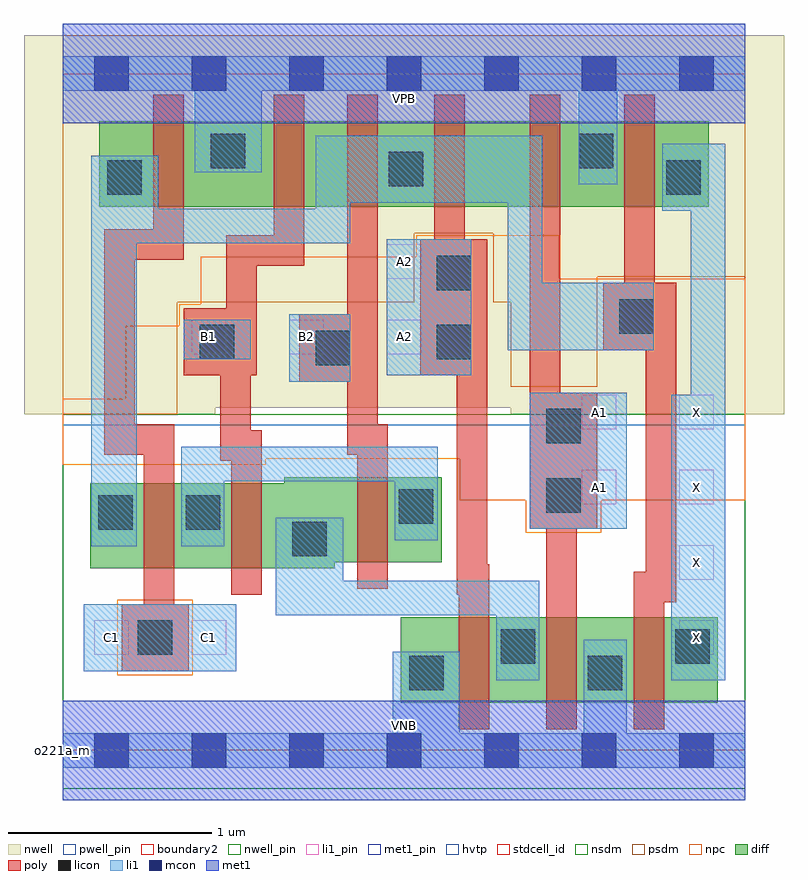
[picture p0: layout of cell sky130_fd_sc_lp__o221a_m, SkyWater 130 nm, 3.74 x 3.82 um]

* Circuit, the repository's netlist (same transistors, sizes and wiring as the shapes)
* Copyright 2020 The SkyWater PDK Authors
*
* Licensed under the Apache License, Version 2.0 (the "License");
* you may not use this file except in compliance with the License.
* You may obtain a copy of the License at
*
*     https://www.apache.org/licenses/LICENSE-2.0
*
* Unless required by applicable law or agreed to in writing, software
* distributed under the License is distributed on an "AS IS" BASIS,
* WITHOUT WARRANTIES OR CONDITIONS OF ANY KIND, either express or implied.
* See the License for the specific language governing permissions and
* limitations under the License.
*
* SPDX-License-Identifier: Apache-2.0

.SUBCKT sky130_fd_sc_lp__o221a_m A1 A2 B1 B2 C1 VGND VNB VPB VPWR X
*.PININFO A1:I A2:I B1:I B2:I C1:I VGND:I VNB:I VPB:I VPWR:I X:O
MMPA0 VPWR A1 sndA1 VPB sky130_fd_pr__pfet_01v8_hvt m=1 w=0.42U l=0.15U mult=1
+ sa=0.265 sb=0.265 sd=0.28 area=0.063 perim=1.14
MMPA1 sndA1 A2 y VPB sky130_fd_pr__pfet_01v8_hvt m=1 w=0.42U l=0.15U mult=1 sa=0.265
+ sb=0.265 sd=0.28 area=0.063 perim=1.14
MMPB0 VPWR B1 sndB1 VPB sky130_fd_pr__pfet_01v8_hvt m=1 w=0.42U l=0.15U mult=1
+ sa=0.265 sb=0.265 sd=0.28 area=0.063 perim=1.14
MMPB1 sndB1 B2 y VPB sky130_fd_pr__pfet_01v8_hvt m=1 w=0.42U l=0.15U mult=1 sa=0.265
+ sb=0.265 sd=0.28 area=0.063 perim=1.14
MMPC0 VPWR C1 y VPB sky130_fd_pr__pfet_01v8_hvt m=1 w=0.42U l=0.15U mult=1 sa=0.265
+ sb=0.265 sd=0.28 area=0.063 perim=1.14
MMIPX X y VPWR VPB sky130_fd_pr__pfet_01v8_hvt m=1 w=0.42U l=0.15U mult=1 sa=0.265
+ sb=0.265 sd=0.28 area=0.063 perim=1.14
MMNA0 pndA A1 VGND VNB sky130_fd_pr__nfet_01v8 m=1 w=0.42U l=0.15U mult=1 sa=0.265
+ sb=0.265 sd=0.28 area=0.063 perim=1.14
MMNA1 pndA A2 VGND VNB sky130_fd_pr__nfet_01v8 m=1 w=0.42U l=0.15U mult=1 sa=0.265
+ sb=0.265 sd=0.28 area=0.063 perim=1.14
MMNB0 pndB B1 pndA VNB sky130_fd_pr__nfet_01v8 m=1 w=0.42U l=0.15U mult=1 sa=0.265
+ sb=0.265 sd=0.28 area=0.063 perim=1.14
MMNB1 pndB B2 pndA VNB sky130_fd_pr__nfet_01v8 m=1 w=0.42U l=0.15U mult=1 sa=0.265
+ sb=0.265 sd=0.28 area=0.063 perim=1.14
MMNC0 y C1 pndB VNB sky130_fd_pr__nfet_01v8 m=1 w=0.42U l=0.15U mult=1 sa=0.265
+ sb=0.265 sd=0.28 area=0.063 perim=1.14
MMINX X y VGND VNB sky130_fd_pr__nfet_01v8 m=1 w=0.42U l=0.15U mult=1 sa=0.265
+ sb=0.265 sd=0.28 area=0.063 perim=1.14
.ENDS sky130_fd_sc_lp__o221a_m

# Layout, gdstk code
import gdstk
lib = gdstk.Library(unit=1e-6, precision=1e-09)
def R(c, l, rs):  # rectangles x0, y0, x1, y1
    for r in rs: c.add(gdstk.rectangle(r[:2], r[2:], *l))
def A(c, l, x, y, w, h, nx, ny, dx, dy):  # array of equal rectangles
    R(c, l, [(x+i*dx, y+j*dy, x+i*dx+w, y+j*dy+h) for i in range(nx) for j in range(ny)])
def P(c, l, *ps):  # polygons
    for p in ps: c.add(gdstk.Polygon(p, *l))
nwell_pin = (64, 16)
nwell = (64, 20)
diff = (65, 20)
poly = (66, 20)
licon = (66, 44)
li1_pin = (67, 16)
li1 = (67, 20)
mcon = (67, 44)
met1_pin = (68, 16)
met1 = (68, 20)
hvtp = (78, 44)
stdcell_id = (81, 4)
nsdm = (93, 44)
psdm = (94, 20)
npc = (95, 20)
pwell_pin = (122, 16)
boundary2 = (236, 0)

sky130_fd_sc_lp__o221a_m = lib.new_cell('sky130_fd_sc_lp__o221a_m')
R(sky130_fd_sc_lp__o221a_m, nwell_pin, [(0,3.085,3.36,3.33)])
P(sky130_fd_sc_lp__o221a_m, nwell, [(3.55,3.52),(-0.19,3.52),(-0.19,1.655),(0.75,1.655),(0.75,1.685),(2.205,1.685),(2.205,1.655),(3.55,1.655)])
R(sky130_fd_sc_lp__o221a_m, diff, [(1.665,0.235,3.225,0.655), (0.18,2.675,3.18,3.095)])
P(sky130_fd_sc_lp__o221a_m, diff, [(1.865,1.345),(1.09,1.345),(1.09,1.315),(0.135,1.315),(0.135,0.895),(1.34,0.895),(1.34,0.925),(1.865,0.925)])
R(sky130_fd_sc_lp__o221a_m, poly, [(0.29,0.39,0.62,0.72)])
P(sky130_fd_sc_lp__o221a_m, poly, [(1.19,3.225),(1.04,3.225),(1.04,2.535),(0.805,2.535),(0.805,2.175),(0.595,2.175),(0.595,1.845),(0.775,1.845),(0.775,1.425),(0.83,1.425),(0.83,0.765),(0.98,0.765),(0.98,1.575),(0.925,1.575),(0.925,1.845),(0.955,1.845),(0.955,2.385),(1.19,2.385)],
  [(1.6,1.605),(1.55,1.605),(1.55,3.225),(1.4,3.225),(1.4,2.145),(1.165,2.145),(1.165,1.815),(1.4,1.815),(1.4,1.455),(1.45,1.455),(1.45,0.795),(1.6,0.795)],
  [(2.1,0.915),(2.09,0.915),(2.09,2.515),(1.98,2.515),(1.98,3.225),(1.83,3.225),(1.83,2.515),(1.76,2.515),(1.76,1.845),(1.94,1.845),(1.94,0.765),(1.95,0.765),(1.95,0.105),(2.1,0.105)],
  [(2.63,1.76),(2.45,1.76),(2.45,3.225),(2.3,3.225),(2.3,1.09),(2.38,1.09),(2.38,0.105),(2.53,0.105),(2.53,1.09),(2.63,1.09)],
  [(3.02,2.3),(2.915,2.3),(2.915,3.225),(2.765,3.225),(2.765,2.3),(2.66,2.3),(2.66,1.97),(2.87,1.97),(2.87,0.88),(2.81,0.88),(2.81,0.105),(2.96,0.105),(2.96,0.73),(3.02,0.73)],
  [(0.595,3.225),(0.445,3.225),(0.445,2.565),(0.205,2.565),(0.205,1.455),(0.4,1.455),(0.4,0.72),(0.55,0.72),(0.55,1.605),(0.355,1.605),(0.355,2.415),(0.595,2.415)])
R(sky130_fd_sc_lp__o221a_m, licon, [(1.705,0.295,1.875,0.465), (2.585,0.295,2.755,0.465), (2.155,0.425,2.325,0.595), (3.015,0.425,3.185,0.595), (0.37,0.47,0.54,0.64), (1.13,0.955,1.3,1.125), (0.175,1.085,0.345,1.255), (0.605,1.085,0.775,1.255), (1.655,1.115,1.825,1.285), (2.38,1.17,2.55,1.34), (2.38,1.51,2.55,1.68), (1.245,1.895,1.415,2.065), (0.675,1.925,0.845,2.095), (1.84,1.925,2.01,2.095), (2.74,2.05,2.91,2.22), (1.84,2.265,2.01,2.435), (0.22,2.735,0.39,2.905), (2.97,2.735,3.14,2.905), (1.605,2.775,1.775,2.945), (0.73,2.865,0.9,3.035), (2.54,2.865,2.71,3.035)])
A(sky130_fd_sc_lp__o221a_m, li1_pin, 3.035, 0.47, 0.17, 0.17, 1, 4, 0, 0.37)
A(sky130_fd_sc_lp__o221a_m, li1_pin, 0.635, 1.95, 0.17, 0.17, 3, 1, 0.48, 0)
R(sky130_fd_sc_lp__o221a_m, li1_pin, [(0.155,0.47,0.325,0.64), (0.635,0.47,0.805,0.64), (2.555,1.21,2.725,1.38), (2.555,1.58,2.725,1.75), (1.595,2.32,1.765,2.49)])
R(sky130_fd_sc_lp__o221a_m, li1, [(0.105,0.39,0.855,0.72), (2.3,1.09,2.775,1.76), (1.115,1.815,1.415,2.145), (1.595,1.845,2.01,2.515), (0.595,1.925,0.925,2.12)])
P(sky130_fd_sc_lp__o221a_m, li1, [(2.54,2.785),(2.54,3.245),(0.98,3.245),(0.98,2.845),(0.65,2.845),(0.65,3.245),(0,3.245),(0,3.415),(3.36,3.415),(3.36,3.245),(2.73,3.245),(2.73,2.785)],
  [(1.625,0.085),(1.625,0.485),(1.955,0.485),(1.955,0.085),(2.565,0.085),(2.565,0.545),(2.775,0.545),(2.775,0.085),(3.36,0.085),(3.36,-0.085),(0,-0.085),(0,0.085)],
  [(2.36,3.025),(2.36,2.3),(2.91,2.3),(2.91,1.97),(2.19,1.97),(2.19,2.695),(1.415,2.695),(1.415,2.495),(0.365,2.495),(0.365,1.005),(0.14,1.005),(0.14,2.925),(0.47,2.925),(0.47,2.665),(1.245,2.665),(1.245,3.025)],
  [(3.09,1.75),(3.09,2.655),(2.95,2.655),(2.95,2.985),(3.26,2.985),(3.26,0.345),(2.995,0.345),(2.995,1.75)],
  [(1.38,0.835),(2.345,0.835),(2.345,0.345),(2.135,0.345),(2.135,0.665),(1.05,0.665),(1.05,1.145),(1.38,1.145)],
  [(1.635,1.035),(1.635,1.325),(0.795,1.325),(0.795,1.005),(0.585,1.005),(0.585,1.495),(1.845,1.495),(1.845,1.035)])
A(sky130_fd_sc_lp__o221a_m, mcon, 0.155, -0.085, 0.17, 0.17, 7, 2, 0.48, 3.33)
R(sky130_fd_sc_lp__o221a_m, met1_pin, [(0,0,3.36,0.245), (0,3.085,3.36,3.33)])
R(sky130_fd_sc_lp__o221a_m, met1, [(0,-0.245,3.36,0.245), (0,3.085,3.36,3.575)])
R(sky130_fd_sc_lp__o221a_m, hvtp, [(0,1.6,3.36,3.33)])
R(sky130_fd_sc_lp__o221a_m, stdcell_id, [(0,0,3.36,3.33)])
R(sky130_fd_sc_lp__o221a_m, nsdm, [(0,-0.19,3.36,1.655)])
P(sky130_fd_sc_lp__o221a_m, psdm, [(3.36,3.52),(0,3.52),(0,1.655),(0.565,1.655),(0.565,2.205),(1.73,2.205),(1.73,2.545),(2.12,2.545),(2.12,2.205),(2.205,2.205),(2.205,1.79),(2.63,1.79),(2.63,2.33),(3.36,2.33)])
R(sky130_fd_sc_lp__o221a_m, npc, [(0.27,0.37,0.64,0.74)])
P(sky130_fd_sc_lp__o221a_m, npc, [(3.36,2.32),(2.445,2.32),(2.445,2.535),(1.74,2.535),(1.74,2.43),(0.68,2.43),(0.68,2.195),(0.575,2.195),(0.575,2.09),(0.31,2.09),(0.31,1.73),(0,1.73),(0,1.405),(1,1.405),(1,1.435),(1.955,1.435),(1.955,1.23),(2.28,1.23),(2.28,1.07),(2.65,1.07),(2.65,1.23),(3.36,1.23)])
R(sky130_fd_sc_lp__o221a_m, pwell_pin, [(0,0,3.36,0.245)])
R(sky130_fd_sc_lp__o221a_m, boundary2, [(0,0,3.36,3.33)])
sky130_fd_sc_lp__o221a_m.add(gdstk.Label('VNB', (1.68,0.123), layer=64, texttype=59))
sky130_fd_sc_lp__o221a_m.add(gdstk.Label('VPB', (1.68,3.208), layer=64, texttype=5))
sky130_fd_sc_lp__o221a_m.add(gdstk.Label('o221a_m', (0,0), layer=83, texttype=44))
sky130_fd_sc_lp__o221a_m.add(gdstk.Label('VPWR', (1.68,3.208), layer=68, texttype=5))
sky130_fd_sc_lp__o221a_m.add(gdstk.Label('VGND', (1.68,0.123), layer=68, texttype=5))
sky130_fd_sc_lp__o221a_m.add(gdstk.Label('A1', (2.64,1.295), layer=67, texttype=5))
sky130_fd_sc_lp__o221a_m.add(gdstk.Label('A1', (2.64,1.665), layer=67, texttype=5))
sky130_fd_sc_lp__o221a_m.add(gdstk.Label('A2', (1.68,2.035), layer=67, texttype=5))
sky130_fd_sc_lp__o221a_m.add(gdstk.Label('A2', (1.68,2.405), layer=67, texttype=5))
sky130_fd_sc_lp__o221a_m.add(gdstk.Label('B1', (0.72,2.035), layer=67, texttype=5))
sky130_fd_sc_lp__o221a_m.add(gdstk.Label('B2', (1.2,2.035), layer=67, texttype=5))
sky130_fd_sc_lp__o221a_m.add(gdstk.Label('C1', (0.24,0.555), layer=67, texttype=5))
sky130_fd_sc_lp__o221a_m.add(gdstk.Label('C1', (0.72,0.555), layer=67, texttype=5))
sky130_fd_sc_lp__o221a_m.add(gdstk.Label('X', (3.12,0.555), layer=67, texttype=5))
sky130_fd_sc_lp__o221a_m.add(gdstk.Label('X', (3.12,0.925), layer=67, texttype=5))
sky130_fd_sc_lp__o221a_m.add(gdstk.Label('X', (3.12,1.295), layer=67, texttype=5))
sky130_fd_sc_lp__o221a_m.add(gdstk.Label('X', (3.12,1.665), layer=67, texttype=5))

lib.write_gds('sky130_fd_sc_lp__o221a_m.gds')
